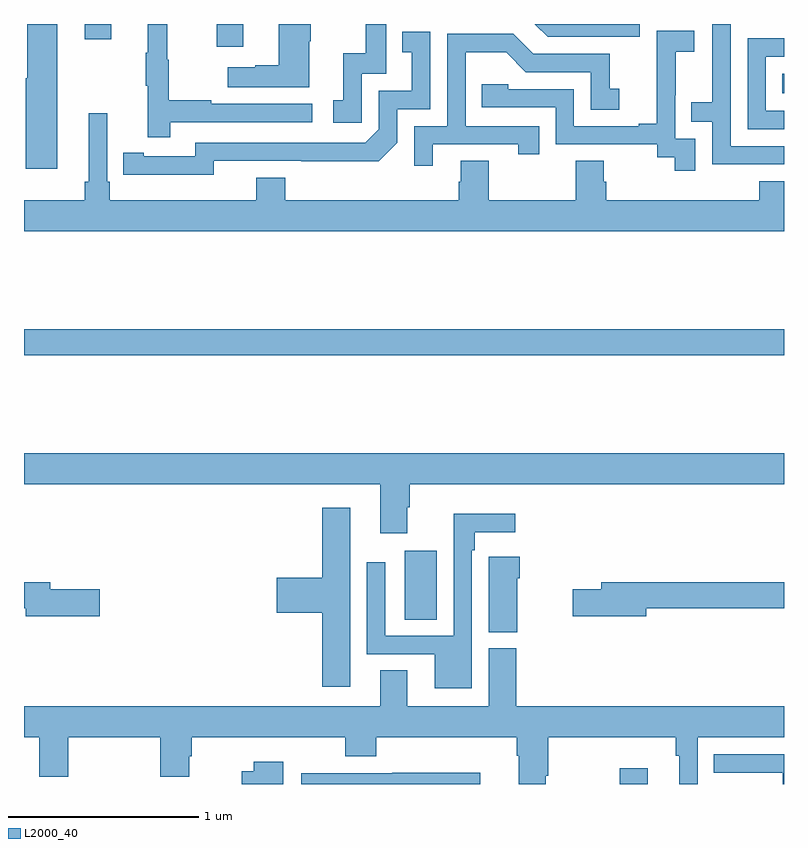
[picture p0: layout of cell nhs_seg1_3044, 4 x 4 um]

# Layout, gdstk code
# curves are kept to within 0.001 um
import gdstk
lib = gdstk.Library(unit=1e-6, precision=1e-09)
def R(c, l, rs):  # rectangles x0, y0, x1, y1
    for r in rs: c.add(gdstk.rectangle(r[:2], r[2:], *l))
def P(c, l, *ps):  # polygons
    for p in ps: c.add(gdstk.Polygon(p, *l))
L2000_40 = (2000, 40)

nhs_seg1_3044 = lib.new_cell('nhs_seg1_3044')
R(nhs_seg1_3044, L2000_40, [(280.136,506.199,280.282,506.281), (279.005,507.064,279.172,507.427), (277,508.456,281,508.592), (280.99,509.834,281,509.938), (278.015,510.078,278.155,510.199), (277.319,510.12,277.459,510.199)])
P(nhs_seg1_3044, L2000_40, [(281,509.556),(280.719,509.556),(280.719,510.199),(280.623,510.199),(280.623,509.786),(280.513,509.786),(280.513,509.685),(280.623,509.685),(280.623,509.46),(281,509.46)],
  [(278.5,510.107),(278.508,510.107),(278.508,510.199),(278.342,510.199),(278.342,509.981),(278.216,509.981),(278.216,509.971),(278.073,509.971),(278.073,509.867),(278.5,509.867)],
  [(277.174,510.199),(277.016,510.199),(277.016,509.913),(277.01,509.913),(277.01,509.436),(277.174,509.436)],
  [(277.769,509.682),(278.518,509.682),(278.518,509.778),(277.985,509.778),(277.985,509.798),(277.762,509.798),(277.762,510.012),(277.754,510.012),(277.754,510.199),(277.652,510.199),(277.652,510.049),(277.641,510.049),(277.641,509.875),(277.652,509.875),(277.652,509.604),(277.769,509.604)],
  [(278.778,509.937),(278.907,509.937),(278.907,510.199),(278.799,510.199),(278.799,510.046),(278.681,510.046),(278.681,509.799),(278.628,509.799),(278.628,509.679),(278.778,509.679)],
  [(280.242,510.199),(279.689,510.199),(279.756,510.132),(280.242,510.132)],
  [(280.533,509.595),(280.428,509.595),(280.428,509.825),(280.43,509.825),(280.43,510.053),(280.528,510.053),(280.528,510.163),(280.33,510.163),(280.33,509.957),(280.331,509.957),(280.331,509.674),(280.235,509.674),(280.235,509.661),(279.894,509.661),(279.894,509.856),(279.549,509.856),(279.549,509.883),(279.409,509.883),(279.409,509.76),(279.798,509.76),(279.798,509.565),(280.332,509.565),(280.332,509.497),(280.425,509.497),(280.425,509.427),(280.533,509.427)],
  [(277.998,509.478),(278.866,509.477),(278.964,509.574),(278.964,509.751),(279.138,509.751),(279.138,510.157),(278.992,510.157),(278.992,510.051),(279.041,510.051),(279.041,509.847),(278.868,509.847),(278.868,509.646),(278.796,509.574),(277.902,509.574),(277.902,509.502),(277.63,509.502),(277.63,509.522),(277.522,509.522),(277.522,509.406),(277.998,509.405)],
  [(279.151,509.565),(279.602,509.565),(279.602,509.514),(279.713,509.514),(279.713,509.661),(279.324,509.661),(279.324,510.05),(279.538,510.05),(279.642,509.946),(279.984,509.946),(279.984,509.748),(280.132,509.748),(280.132,509.857),(280.083,509.857),(280.083,510.042),(279.679,510.042),(279.574,510.147),(279.228,510.147),(279.228,509.661),(279.054,509.661),(279.054,509.454),(279.151,509.454)],
  [(281,509.742),(280.905,509.742),(280.905,510.027),(281,510.027),(281,510.123),(280.809,510.123),(280.809,509.646),(281,509.646)],
  [(281,509.371),(280.871,509.371),(280.871,509.272),(280.064,509.272),(280.064,509.37),(280.051,509.37),(280.051,509.48),(279.904,509.48),(279.904,509.272),(279.447,509.272),(279.447,509.48),(279.299,509.48),(279.299,509.37),(279.287,509.37),(279.287,509.272),(278.375,509.272),(278.375,509.389),(278.222,509.389),(278.222,509.272),(277.451,509.272),(277.451,509.368),(277.437,509.368),(277.437,509.728),(277.34,509.728),(277.34,509.368),(277.321,509.368),(277.321,509.272),(277,509.272),(277,509.108),(281,509.108)],
  [(279.016,507.656),(279.029,507.656),(279.029,507.776),(281,507.776),(281,507.94),(277,507.94),(277,507.776),(278.876,507.776),(278.876,507.519),(279.016,507.519)],
  [(278.716,507.652),(278.57,507.652),(278.57,507.284),(278.331,507.284),(278.331,507.101),(278.57,507.101),(278.57,506.712),(278.716,506.712)],
  [(279.357,507.428),(279.373,507.428),(279.373,507.524),(279.586,507.524),(279.586,507.622),(279.261,507.622),(279.261,506.979),(278.901,506.979),(278.901,507.367),(278.805,507.367),(278.805,506.883),(279.161,506.883),(279.161,506.702),(279.357,506.702)],
  [(279.595,507.281),(279.608,507.281),(279.608,507.394),(279.447,507.394),(279.447,507.281),(279.446,507.281),(279.446,506.998),(279.595,506.998)],
  [(277.399,507.224),(277.138,507.224),(277.138,507.26),(277,507.26),(277,507.124),(277.01,507.124),(277.01,507.082),(277.399,507.082)],
  [(280.276,507.124),(281,507.124),(281,507.26),(280.037,507.26),(280.037,507.224),(279.888,507.224),(279.888,507.082),(280.276,507.082)],
  [(279.745,506.242),(279.758,506.242),(279.758,506.444),(280.429,506.444),(280.429,506.348),(280.448,506.348),(280.448,506.199),(280.545,506.199),(280.545,506.444),(281,506.444),(281,506.608),(279.59,506.608),(279.59,506.913),(279.446,506.913),(279.446,506.608),(279.016,506.608),(279.016,506.798),(278.876,506.798),(278.876,506.608),(277,506.608),(277,506.444),(277.079,506.444),(277.079,506.236),(277.232,506.236),(277.232,506.444),(277.718,506.444),(277.718,506.236),(277.87,506.236),(277.87,506.346),(277.883,506.346),(277.883,506.444),(278.69,506.444),(278.69,506.345),(278.855,506.345),(278.855,506.444),(279.593,506.444),(279.593,506.348),(279.605,506.348),(279.605,506.199),(279.745,506.199)],
  [(281,506.355),(280.63,506.355),(280.63,506.259),(280.994,506.259),(280.994,506.199),(281,506.199)],
  [(278.365,506.317),(278.209,506.317),(278.209,506.265),(278.146,506.265),(278.146,506.199),(278.365,506.199)],
  [(279.401,506.258),(278.938,506.258),(278.938,506.256),(278.46,506.256),(278.46,506.199),(279.401,506.199)])

lib.write_gds('nhs_seg1_3044.gds')
